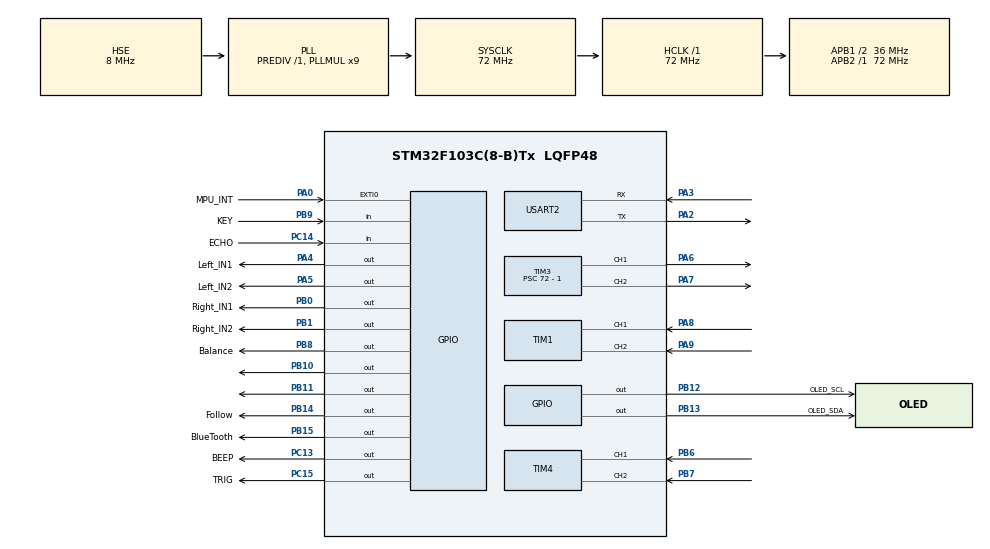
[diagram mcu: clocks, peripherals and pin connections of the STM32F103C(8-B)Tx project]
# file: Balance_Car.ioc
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FREERTOS.Tasks01=defaultTask,0,128,StartDefaultTask,Default,NULL,Dynamic,NULL,NULL
Mcu.Family=STM32F1
Mcu.Name=STM32F103C(8-B)Tx
Mcu.Package=LQFP48
NVIC.EXTI0_IRQn=true\:5\:0\:false\:false\:true\:true\:true\:true\:true
NVIC.PriorityGroup=NVIC_PRIORITYGROUP_4
NVIC.TIM2_IRQn=true\:5\:0\:true\:false\:true\:true\:true\:true\:true
NVIC.USART2_IRQn=true\:5\:0\:true\:false\:true\:true\:true\:true\:true
PA0-WKUP.GPIO_Label=MPU_INT
PA0-WKUP.GPIO_PuPd=GPIO_PULLUP
PA0-WKUP.Signal=GPXTI0
PA13.Mode=Serial_Wire
PA13.Signal=SYS_JTMS-SWDIO
PA14.Mode=Serial_Wire
PA14.Signal=SYS_JTCK-SWCLK
PA2.Mode=Asynchronous
PA2.Signal=USART2_TX
PA3.Mode=Asynchronous
PA3.Signal=USART2_RX
PA4.GPIO_Label=Left_IN1
PA4.Signal=GPIO_Output
PA5.GPIO_Label=Left_IN2
PA5.Signal=GPIO_Output
PA6.Signal=S_TIM3_CH1
PA7.Signal=S_TIM3_CH2
PA8.GPIO_PuPd=GPIO_PULLUP
PA8.Signal=S_TIM1_CH1
PA9.GPIO_PuPd=GPIO_PULLUP
PA9.Signal=S_TIM1_CH2
PB0.GPIO_Label=Right_IN1
PB0.Signal=GPIO_Output
PB1.GPIO_Label=Right_IN2
PB1.Signal=GPIO_Output
PB10.GPIO_ModeDefaultOutputPP=GPIO_MODE_OUTPUT_PP
PB10.GPIO_PuPd=GPIO_NOPULL
PB10.Signal=GPIO_Output
PB11.GPIO_ModeDefaultOutputPP=GPIO_MODE_OUTPUT_PP
PB11.GPIO_PuPd=GPIO_NOPULL
PB11.Signal=GPIO_Output
PB12.GPIO_Label=OLED_SCL
PB12.GPIO_ModeDefaultOutputPP=GPIO_MODE_OUTPUT_PP
PB12.GPIO_PuPd=GPIO_NOPULL
PB12.Signal=GPIO_Output
PB13.GPIO_Label=OLED_SDA
PB13.GPIO_ModeDefaultOutputPP=GPIO_MODE_OUTPUT_PP
PB13.GPIO_PuPd=GPIO_NOPULL
PB13.Signal=GPIO_Output
PB14.GPIO_Label=Follow
PB14.Signal=GPIO_Output
PB15.GPIO_Label=BlueTooth
PB15.Signal=GPIO_Output
PB6.GPIO_PuPd=GPIO_PULLUP
PB6.Signal=S_TIM4_CH1
PB7.GPIO_PuPd=GPIO_PULLUP
PB7.Signal=S_TIM4_CH2
PB8.GPIO_Label=Balance
PB8.Signal=GPIO_Output
PB9.GPIO_Label=KEY
PB9.GPIO_PuPd=GPIO_PULLUP
PB9.Signal=GPIO_Input
PC13-TAMPER-RTC.GPIO_Label=BEEP
PC13-TAMPER-RTC.Signal=GPIO_Output
PC14-OSC32_IN.GPIO_Label=ECHO
PC14-OSC32_IN.GPIO_PuPd=GPIO_PULLDOWN
PC14-OSC32_IN.Signal=GPIO_Input
PC15-OSC32_OUT.GPIO_Label=TRIG
PC15-OSC32_OUT.GPIO_PuPd=GPIO_NOPULL
PC15-OSC32_OUT.GPIO_Speed=GPIO_SPEED_FREQ_HIGH
PC15-OSC32_OUT.Signal=GPIO_Output
PD0-OSC_IN.Mode=HSE-External-Oscillator
PD0-OSC_IN.Signal=RCC_OSC_IN
PD1-OSC_OUT.Mode=HSE-External-Oscillator
PD1-OSC_OUT.Signal=RCC_OSC_OUT
ProjectManager.HeapSize=0x1000
ProjectManager.StackSize=0x400
ProjectManager.TargetToolchain=CMake
RCC.AHBFreq_Value=72000000
RCC.APB1CLKDivider=RCC_HCLK_DIV2
RCC.APB1Freq_Value=36000000
RCC.APB1TimFreq_Value=72000000
RCC.APB2Freq_Value=72000000
RCC.APB2TimFreq_Value=72000000
RCC.HCLKFreq_Value=72000000
RCC.PLLMUL=RCC_PLL_MUL9
RCC.PLLSourceVirtual=RCC_PLLSOURCE_HSE
RCC.SYSCLKFreq_VALUE=72000000
RCC.SYSCLKSource=RCC_SYSCLKSOURCE_PLLCLK
RCC.USBFreq_Value=72000000
SH.S_TIM1_CH1.0=TIM1_CH1,Encoder_Interface
SH.S_TIM1_CH2.0=TIM1_CH2,Encoder_Interface
SH.S_TIM3_CH1.0=TIM3_CH1,PWM Generation1 CH1
SH.S_TIM3_CH2.0=TIM3_CH2,PWM Generation2 CH2
SH.S_TIM4_CH1.0=TIM4_CH1,Encoder_Interface
SH.S_TIM4_CH2.0=TIM4_CH2,Encoder_Interface
TIM1.EncoderMode=TIM_ENCODERMODE_TI12
TIM1.IC1Filter=8
TIM1.IC2Filter=8
TIM2.AutoReloadPreload=TIM_AUTORELOAD_PRELOAD_ENABLE
TIM2.Period=9
TIM2.Prescaler=71
TIM3.AutoReloadPreload=TIM_AUTORELOAD_PRELOAD_DISABLE
TIM3.Channel-PWM\ Generation1\ CH1=TIM_CHANNEL_1
TIM3.Channel-PWM\ Generation2\ CH2=TIM_CHANNEL_2
TIM3.Period=3600-1
TIM3.Prescaler=72 - 1
TIM4.EncoderMode=TIM_ENCODERMODE_TI12
TIM4.IC1Filter=4
TIM4.IC2Filter=4
USART2.VirtualMode=VM_ASYNC
VP_FREERTOS_VS_CMSIS_V1.Mode=CMSIS_V1
VP_TIM2_VS_ClockSourceINT.Mode=Internal
board=custom

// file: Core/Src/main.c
/* USER CODE BEGIN Header */
/**
  ******************************************************************************
  * @file           : main.c
  * @brief          : Main program body
  ******************************************************************************
  * @attention
  *
  * Copyright (c) 2025 STMicroelectronics.
  * All rights reserved.
  *
  * This software is licensed under terms that can be found in the LICENSE file
  * in the root directory of this software component.
  * If no LICENSE file comes with this software, it is provided AS-IS.
  *
  ******************************************************************************
  */
/* USER CODE END Header */
#include "main.h"
#include "cmsis_os.h"
#include "tim.h"
#include "usart.h"
#include "gpio.h"

/* USER CODE BEGIN Includes */
#include "headfile.h"
/* USER CODE END Includes */

void SystemClock_Config(void);
void MX_FREERTOS_Init(void);

/* USER CODE BEGIN 0 */
volatile uint8_t mpu_data_flag = 0;

/* USER CODE END 0 */

int main(void)
{

  /* MCU Configuration--------------------------------------------------------*/

  /* Reset of all peripherals, Initializes the Flash interface and the Systick. */
  HAL_Init();

  /* Configure the system clock */
  SystemClock_Config();

  /* Initialize all configured peripherals */
  MX_GPIO_Init();
  MX_TIM1_Init();
  MX_TIM2_Init();
  MX_TIM3_Init();
  MX_TIM4_Init();
  MX_USART2_UART_Init();
  /* USER CODE BEGIN 2 */
  System_Init();
  OLED_ShowString(1, 3, "HAL Update");
	OLED_ShowString(2, 3, "Balance_Car");
  /* USER CODE END 2 */

  /* Call init function for freertos objects (in cmsis_os2.c) */
  MX_FREERTOS_Init();

  /* Start scheduler */
  osKernelStart();

  /* We should never get here as control is now taken by the scheduler */

  /* Infinite loop */
  /* USER CODE BEGIN WHILE */

  while (1)
  {
  //   if(mpu_data_flag)
  //   {
  //     MPU_Get_Angle(&mpu);
  //   	Balance();													  // 主控制逻辑
  //   	CheckLiftState();  										// 提起检测
  //   	CheckFallDown();											// 倒地检测
  //   	DetectPutDown(); 											// 着陆检测
  //     ModeSelect();                         // 模式切换
  //   	mpu_data_flag = 0;
  //   }
    /* USER CODE END WHILE */

  }
}

void SystemClock_Config(void)
{
  RCC_OscInitTypeDef RCC_OscInitStruct = {0};
  RCC_ClkInitTypeDef RCC_ClkInitStruct = {0};

  /** Initializes the RCC Oscillators according to the specified parameters
  * in the RCC_OscInitTypeDef structure.
  */
  RCC_OscInitStruct.OscillatorType = RCC_OSCILLATORTYPE_HSE;
  RCC_OscInitStruct.HSEState = RCC_HSE_ON;
  RCC_OscInitStruct.HSEPredivValue = RCC_HSE_PREDIV_DIV1;
  RCC_OscInitStruct.HSIState = RCC_HSI_ON;
  RCC_OscInitStruct.PLL.PLLState = RCC_PLL_ON;
  RCC_OscInitStruct.PLL.PLLSource = RCC_PLLSOURCE_HSE;
  RCC_OscInitStruct.PLL.PLLMUL = RCC_PLL_MUL9;
  if (HAL_RCC_OscConfig(&RCC_OscInitStruct) != HAL_OK)
  {
    Error_Handler();
  }

  /** Initializes the CPU, AHB and APB buses clocks
  */
  RCC_ClkInitStruct.ClockType = RCC_CLOCKTYPE_HCLK|RCC_CLOCKTYPE_SYSCLK
                              |RCC_CLOCKTYPE_PCLK1|RCC_CLOCKTYPE_PCLK2;
  RCC_ClkInitStruct.SYSCLKSource = RCC_SYSCLKSOURCE_PLLCLK;
  RCC_ClkInitStruct.AHBCLKDivider = RCC_SYSCLK_DIV1;
  RCC_ClkInitStruct.APB1CLKDivider = RCC_HCLK_DIV2;
  RCC_ClkInitStruct.APB2CLKDivider = RCC_HCLK_DIV1;

  if (HAL_RCC_ClockConfig(&RCC_ClkInitStruct, FLASH_LATENCY_2) != HAL_OK)
  {
    Error_Handler();
  }
}

void Error_Handler(void)
{
  __disable_irq();
  while (1)
  {
  }
}

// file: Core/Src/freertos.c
/* USER CODE BEGIN Header */
/**
  ******************************************************************************
  * File Name          : freertos.c
  * Description        : Code for freertos applications
  ******************************************************************************
  * @attention
  *
  * Copyright (c) 2026 STMicroelectronics.
  * All rights reserved.
  *
  * This software is licensed under terms that can be found in the LICENSE file
  * in the root directory of this software component.
  * If no LICENSE file comes with this software, it is provided AS-IS.
  *
  ******************************************************************************
  */
/* USER CODE END Header */

#include "FreeRTOS.h"
#include "task.h"
#include "main.h"
#include "cmsis_os.h"

/* USER CODE BEGIN Includes */
#include "ctrl_task.h"
/* USER CODE END Includes */

/* USER CODE BEGIN Variables */
osThreadId ctrlTaskHandle;

osSemaphoreId BinarySem_MPUHandle;
osSemaphoreDef(BinarySem_MPU);
/* USER CODE END Variables */
osThreadId defaultTaskHandle;

void StartDefaultTask(void const * argument);

void MX_FREERTOS_Init(void); /* (MISRA C 2004 rule 8.1) */

/* GetIdleTaskMemory prototype (linked to static allocation support) */
void vApplicationGetIdleTaskMemory( StaticTask_t **ppxIdleTaskTCBBuffer, StackType_t **ppxIdleTaskStackBuffer, uint32_t *pulIdleTaskStackSize );

/* USER CODE BEGIN GET_IDLE_TASK_MEMORY */
static StaticTask_t xIdleTaskTCBBuffer;
static StackType_t xIdleStack[configMINIMAL_STACK_SIZE];

void vApplicationGetIdleTaskMemory( StaticTask_t **ppxIdleTaskTCBBuffer, StackType_t **ppxIdleTaskStackBuffer, uint32_t *pulIdleTaskStackSize )
{
  *ppxIdleTaskTCBBuffer = &xIdleTaskTCBBuffer;
  *ppxIdleTaskStackBuffer = &xIdleStack[0];
  *pulIdleTaskStackSize = configMINIMAL_STACK_SIZE;
  /* place for user code */
}
/* USER CODE END GET_IDLE_TASK_MEMORY */

void MX_FREERTOS_Init(void) {

  /* Create the thread(s) */
  /* definition and creation of defaultTask */
  osThreadDef(defaultTask, StartDefaultTask, osPriorityNormal, 0, 128);
  defaultTaskHandle = osThreadCreate(osThread(defaultTask), NULL);

  /* USER CODE BEGIN RTOS_THREADS */
  /* add threads, ...
    osPriorityIdle          = -3,          ///< priority: idle (lowest)
  osPriorityLow           = -2,          ///< priority: low
  osPriorityBelowNormal   = -1,          ///< priority: below normal
  osPriorityNormal        =  0,          ///< priority: normal (default)
  osPriorityAboveNormal   = +1,          ///< priority: above normal
  osPriorityHigh          = +2,          ///< priority: high
  osPriorityRealtime      = +3,          ///< priority: realtime (highest)
  */
  BinarySem_MPUHandle = osSemaphoreCreate(osSemaphore(BinarySem_MPU), 1);
  osSemaphoreWait(BinarySem_MPUHandle, 0);

  osThreadDef(CtrlTask, CtrlTask, osPriorityRealtime, 0, 128);
  ctrlTaskHandle = osThreadCreate(osThread(CtrlTask), NULL);
  /* USER CODE END RTOS_THREADS */

}

void StartDefaultTask(void const * argument)
{
  for(;;)
  {
    osDelay(1);
  }
}
